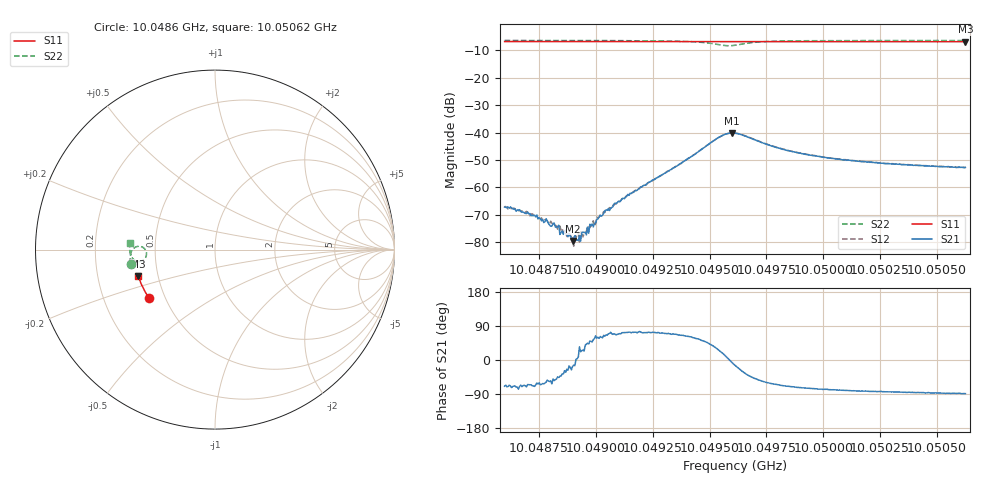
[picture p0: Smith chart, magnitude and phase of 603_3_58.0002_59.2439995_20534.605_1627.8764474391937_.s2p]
#  HZ  S  RI  R  50.00
! Rohde & Schwarz Vector Network Analyzer
! Rohde-Schwarz,ZNB20-2Port,1311601062101988,3.16
! Created: UTC 3/21/2024, 1:17:19 AM
! freq[Hz]  re:S11  im:S11  re:S21  im:S21  re:S12  im:S12  re:S22  im:S22
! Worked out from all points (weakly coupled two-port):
!   401 points, 10.0486 GHz to 10.05062 GHz, reference 50 ohm
!   highest |S21| = -40.14 dB at 10.0496 GHz (marker M1); lowest = -79.5 dB at 10.0489 GHz (marker M2)
!   lowest |S11| = -6.9 dB at 10.05062 GHz (marker M3), VSWR 2.65, Z = 19.3 - j7.2 ohm
!   |S11| at or under -10 dB: nowhere
!   |S22| runs from -8.4 to -6.4 dB; largest |S21 - S12| = 0.00071
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1.0048599e10  -0.3693 -0.2671  0.000156 -0.000409  0.000166 -0.000428  -0.4704 -0.0787
1.004873e10  -0.3742 -0.2597  0.000109 -0.000294  0.000111 -0.0003  -0.4714 -0.0688
1.0048801e10  -0.3767 -0.2558  0.000112 -0.000162  0.000149 -0.000191  -0.4718 -0.0632
1.0048827e10  -0.3777 -0.2543  0.00012 -0.000145  0.000155 -0.000126  -0.4718 -0.0613
1.0048852e10  -0.3786 -0.2529  0.000129 -9.58e-05  0.000151 -9.43e-05  -0.472 -0.0593
1.0048872e10  -0.3794 -0.2519  0.00013 -5.92e-05  0.00012 -4.49e-05  -0.4721 -0.0577
1.0048898e10  -0.3803 -0.2504  0.000101 -3.06e-05  0.000118 2.33e-05  -0.4722 -0.0555
1.0048923e10  -0.3809 -0.2489  0.000108 1.57e-05  0.000145 4.83e-05  -0.4723 -0.0534
1.0048938e10  -0.3815 -0.2483  0.000137 6.29e-05  0.000138 5.6e-05  -0.4724 -0.0521
1.0048958e10  -0.3823 -0.247  0.000101 9.12e-05  0.000118 0.000107  -0.4723 -0.0503
1.0048974e10  -0.3828 -0.2462  0.000136 0.000164  0.000127 0.000134  -0.4724 -0.0491
1.0048989e10  -0.3832 -0.2454  0.000113 0.000155  0.000108 0.000223  -0.4725 -0.0478
1.0049034e10  -0.3848 -0.2429  0.000143 0.000307  0.000138 0.000338  -0.4722 -0.0435
1.004909e10  -0.3867 -0.2394  0.000204 0.000462  0.000163 0.000482  -0.4721 -0.0381
1.0049277e10  -0.3927 -0.2287  0.000484 0.0015  0.000415 0.00152  -0.4682 -0.0168
1.0049536e10  -0.3999 -0.2133  0.00703 0.00378  0.00672 0.00425  -0.4029 0.0131
1.0049597e10  -0.4013 -0.2102  0.0098 -0.000921  0.00984 -0.000221  -0.3823 -0.0319
1.0049612e10  -0.4018 -0.2096  0.00947 -0.00236  0.00966 -0.00174  -0.3871 -0.0447
1.0049814e10  -0.4082 -0.1979  0.00197 -0.00468  0.0023 -0.00458  -0.4632 -0.0437
1.0049951e10  -0.4119 -0.1896  0.000976 -0.00371  0.00119 -0.00371  -0.4715 -0.0241
1.0050291e10  -0.4203 -0.1689  0.000272 -0.0027  0.000445 -0.0027  -0.4755 0.00886
1.0050625e10  -0.4273 -0.1482  5.15e-05 -0.00232  0.00017 -0.00231  -0.4745 0.0348
